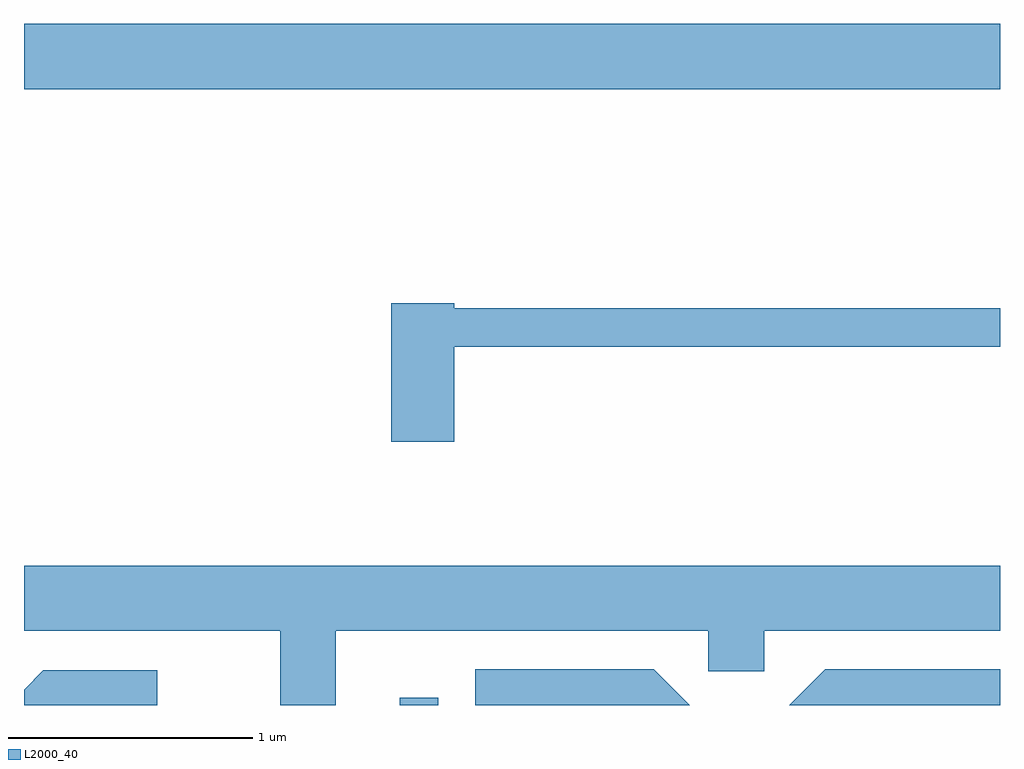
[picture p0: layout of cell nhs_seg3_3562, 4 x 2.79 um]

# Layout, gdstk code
import gdstk
lib = gdstk.Library(unit=1e-6, precision=1e-09)
def R(c, l, rs):  # rectangles x0, y0, x1, y1
    for r in rs: c.add(gdstk.rectangle(r[:2], r[2:], *l))
def P(c, l, *ps):  # polygons
    for p in ps: c.add(gdstk.Polygon(p, *l))
L2000_40 = (2000, 40)

nhs_seg3_3562 = lib.new_cell('nhs_seg3_3562')
R(nhs_seg3_3562, L2000_40, [(291.151,1167.892,291.309,1167.923), (289.611,1170.416,293.611,1170.684)])
P(nhs_seg3_3562, L2000_40, [(291.374,1169.361),(293.611,1169.361),(293.611,1169.519),(291.374,1169.519),(291.374,1169.539),(291.116,1169.539),(291.116,1168.971),(291.374,1168.971)],
  [(290.889,1168.196),(292.416,1168.196),(292.416,1168.031),(292.644,1168.031),(292.644,1168.196),(293.611,1168.196),(293.611,1168.464),(289.611,1168.464),(289.611,1168.196),(290.661,1168.196),(290.661,1167.892),(290.889,1167.892)],
  [(293.611,1168.039),(292.894,1168.039),(292.747,1167.892),(293.611,1167.892)],
  [(292.192,1168.039),(291.461,1168.039),(291.461,1167.892),(292.339,1167.892)],
  [(290.158,1168.034),(289.689,1168.034),(289.611,1167.956),(289.611,1167.892),(290.158,1167.892)])

lib.write_gds('nhs_seg3_3562.gds')
